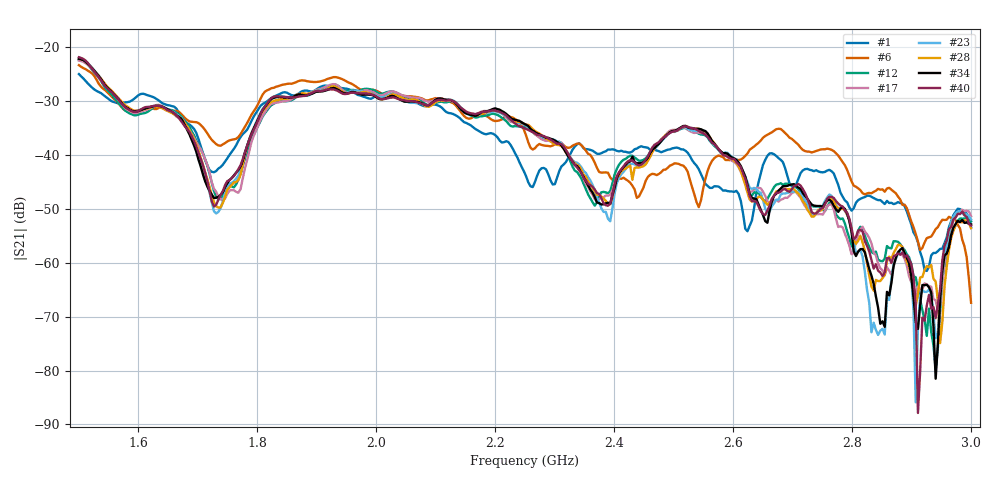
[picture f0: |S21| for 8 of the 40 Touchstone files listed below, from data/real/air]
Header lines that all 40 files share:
# HZ S RI R 50
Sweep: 1.5 GHz to 3 GHz
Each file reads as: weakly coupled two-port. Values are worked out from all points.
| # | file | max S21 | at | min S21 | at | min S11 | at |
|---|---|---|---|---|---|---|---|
| 1 | Air_001.s2p | -24.95 dB | 1.5 GHz | -61.5 dB | 2.926 GHz | -39.2 dB | 2.233 GHz |
| 2 | Air_003.s2p | -24.16 dB | 1.5 GHz | -51.6 dB | 2.989 GHz | -42.4 dB | 2.23 GHz |
| 3 | Air_004.s2p | -24.35 dB | 1.5 GHz | -51.8 dB | 2.985 GHz | -40.2 dB | 2.23 GHz |
| 4 | Air_005.s2p | -22.71 dB | 1.5 GHz | -82.3 dB | 3 GHz | -35.2 dB | 2.233 GHz |
| 5 | Air_008.s2p | -23.34 dB | 1.5 GHz | -69.6 dB | 3 GHz | -35.0 dB | 2.233 GHz |
| 6 | Air_009.s2p | -23.29 dB | 1.5 GHz | -67.4 dB | 3 GHz | -34.9 dB | 2.233 GHz |
| 7 | Air_011.s2p | -23.95 dB | 1.5 GHz | -52.3 dB | 2.516 GHz | -40.0 dB | 2.23 GHz |
| 8 | Air_012.s2p | -23.88 dB | 1.5 GHz | -52.7 dB | 2.527 GHz | -41.0 dB | 2.23 GHz |
| 9 | Air_013.s2p | -22.41 dB | 1.5 GHz | -78.6 dB | 2.907 GHz | -41.9 dB | 2.23 GHz |
| 10 | Air_014.s2p | -22.44 dB | 1.5 GHz | -72.7 dB | 2.911 GHz | -42.6 dB | 2.23 GHz |
| 11 | Air_015.s2p | -22.17 dB | 1.5 GHz | -69.2 dB | 2.94 GHz | -41.8 dB | 2.23 GHz |
| 12 | Air_018.s2p | -22.29 dB | 1.5 GHz | -79.9 dB | 2.94 GHz | -43.2 dB | 2.23 GHz |
| 13 | Air_019.s2p | -22.21 dB | 1.5 GHz | -74.3 dB | 2.944 GHz | -45.3 dB | 2.23 GHz |
| 14 | Air_020.s2p | -22.42 dB | 1.5 GHz | -82.4 dB | 2.948 GHz | -42.4 dB | 2.23 GHz |
| 15 | Air_022.s2p | -22.18 dB | 1.5 GHz | -68.4 dB | 2.948 GHz | -47.8 dB | 2.23 GHz |
| 16 | Air_023.s2p | -22.50 dB | 1.5 GHz | -74.1 dB | 2.94 GHz | -43.3 dB | 2.23 GHz |
| 17 | Air_024.s2p | -22.46 dB | 1.5 GHz | -68.9 dB | 2.944 GHz | -40.8 dB | 2.23 GHz |
| 18 | Air_026.s2p | -22.22 dB | 1.5 GHz | -69.8 dB | 2.94 GHz | -41.1 dB | 2.23 GHz |
| 19 | Air_029.s2p | -22.09 dB | 1.5 GHz | -80.7 dB | 2.907 GHz | -44.9 dB | 2.23 GHz |
| 20 | Air_031.s2p | -22.03 dB | 1.5 GHz | -89.3 dB | 2.94 GHz | -42.0 dB | 2.23 GHz |
| 21 | Air_032.s2p | -22.21 dB | 1.5 GHz | -73.1 dB | 2.851 GHz | -44.4 dB | 2.23 GHz |
| 22 | Air_035.s2p | -22.12 dB | 1.5 GHz | -73.5 dB | 2.903 GHz | -40.0 dB | 2.23 GHz |
| 23 | Air_036.s2p | -21.89 dB | 1.5 GHz | -85.9 dB | 2.907 GHz | -40.3 dB | 2.23 GHz |
| 24 | Air_039.s2p | -22.08 dB | 1.5 GHz | -84.3 dB | 2.907 GHz | -43.2 dB | 2.23 GHz |
| 25 | Air_040.s2p | -21.93 dB | 1.5 GHz | -72.6 dB | 2.907 GHz | -40.5 dB | 2.23 GHz |
| 26 | Air_042.s2p | -22.02 dB | 1.5 GHz | -75.3 dB | 2.948 GHz | -42.6 dB | 2.23 GHz |
| 27 | Air_044.s2p | -22.05 dB | 1.5 GHz | -76.2 dB | 2.948 GHz | -41.0 dB | 2.23 GHz |
| 28 | Air_045.s2p | -22.08 dB | 1.5 GHz | -74.9 dB | 2.948 GHz | -40.4 dB | 2.23 GHz |
| 29 | Air_047.s2p | -22.26 dB | 1.5 GHz | -74.8 dB | 2.948 GHz | -40.7 dB | 2.23 GHz |
| 30 | Air_051.s2p | -21.86 dB | 1.5 GHz | -72.7 dB | 2.851 GHz | -42.5 dB | 2.23 GHz |
| 31 | Air_053.s2p | -21.95 dB | 1.5 GHz | -83.4 dB | 2.907 GHz | -42.5 dB | 2.23 GHz |
| 32 | Air_056.s2p | -22.20 dB | 1.5 GHz | -86.9 dB | 2.84 GHz | -42.9 dB | 2.23 GHz |
| 33 | Air_059.s2p | -21.94 dB | 1.5 GHz | -82.9 dB | 2.944 GHz | -41.1 dB | 2.23 GHz |
| 34 | Air_060.s2p | -22.12 dB | 1.5 GHz | -81.5 dB | 2.94 GHz | -41.0 dB | 2.23 GHz |
| 35 | Air_063.s2p | -22.13 dB | 1.5 GHz | -77.5 dB | 2.94 GHz | -41.9 dB | 2.23 GHz |
| 36 | Air_064.s2p | -21.87 dB | 1.5 GHz | -78.1 dB | 2.907 GHz | -40.6 dB | 2.23 GHz |
| 37 | Air_069.s2p | -21.71 dB | 1.5 GHz | -72.0 dB | 2.911 GHz | -38.7 dB | 2.23 GHz |
| 38 | Air_070.s2p | -21.75 dB | 1.5 GHz | -79.0 dB | 2.914 GHz | -38.3 dB | 2.23 GHz |
| 39 | Air_072.s2p | -21.78 dB | 1.5 GHz | -75.5 dB | 2.914 GHz | -38.7 dB | 2.23 GHz |
| 40 | Air_077.s2p | -21.82 dB | 1.5 GHz | -87.9 dB | 2.911 GHz | -38.8 dB | 2.23 GHz |
